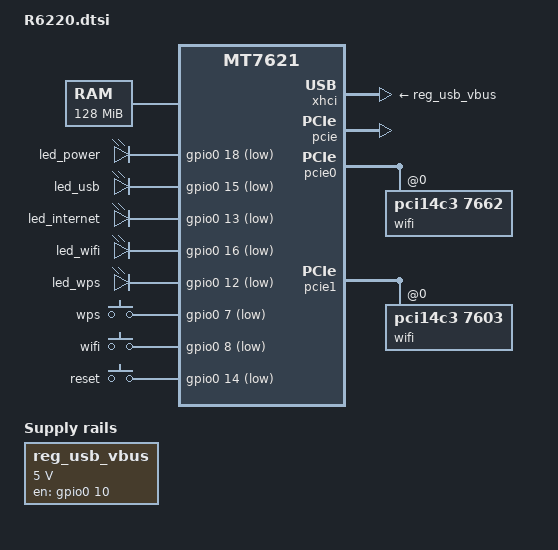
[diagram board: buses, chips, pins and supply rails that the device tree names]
// SPDX-License-Identifier: GPL-2.0
/dts-v1/;

#include "mt7621.dtsi"

#include <dt-bindings/gpio/gpio.h>
#include <dt-bindings/input/input.h>

/ {
	compatible = "mediatek,mt7621-soc";

	aliases {
		led-boot = &led_power;
		led-failsafe = &led_power;
		led-running = &led_power;
		led-upgrade = &led_power;
	};

	memory@0 {
		device_type = "memory";
		reg = <0x0 0x8000000>;
	};

	chosen {
		bootargs = "console=ttyS0,57600";
	};

	leds {
		compatible = "gpio-leds";

		led_power: power {
			gpios = <&gpio0 18 GPIO_ACTIVE_LOW>;
		};

		led_usb: usb {
			gpios = <&gpio0 15 GPIO_ACTIVE_LOW>;
			trigger-sources = <&xhci_ehci_port1>, <&ehci_port2>;
			linux,default-trigger = "usbport";
		};

		led_internet: internet {
			gpios = <&gpio0 13 GPIO_ACTIVE_LOW>;
		};

		led_wifi: wifi {
			gpios = <&gpio0 16 GPIO_ACTIVE_LOW>;
			linux,default-trigger = "phy0tpt";
		};

		led_wps: wps {
			gpios = <&gpio0 12 GPIO_ACTIVE_LOW>;
		};
	};

	keys {
		compatible = "gpio-keys-polled";
		poll-interval = <20>;

		wps {
			label = "wps";
			gpios = <&gpio0 7 GPIO_ACTIVE_LOW>;
			linux,code = <KEY_WPS_BUTTON>;
		};

		wifi {
			label = "wifi";
			gpios = <&gpio0 8 GPIO_ACTIVE_LOW>;
			linux,code = <KEY_RFKILL>;
		};

		reset {
			label = "reset";
			gpios = <&gpio0 14 GPIO_ACTIVE_LOW>;
			linux,code = <KEY_RESTART>;
		};
	};

	reg_usb_vbus: regulator {
		compatible = "regulator-fixed";
		regulator-name = "usb_vbus";
		regulator-min-microvolt = <5000000>;
		regulator-max-microvolt = <5000000>;
		gpio = <&gpio0 10 GPIO_ACTIVE_HIGH>;
		enable-active-high;
	};
};

&xhci {
	vbus-supply = <&reg_usb_vbus>;
};

&pcie {
	status = "okay";
};

&pcie0 {
	wifi@0,0 {
		compatible = "pci14c3,7662";
		reg = <0x0000 0 0 0 0>;
		mediatek,mtd-eeprom = <&factory 0x8000>;
		ieee80211-freq-limit = <5000000 6000000>;
	};
};

&pcie1 {
	wifi@0,0 {
		compatible = "pci14c3,7603";
		reg = <0x0000 0 0 0 0>;
		mediatek,mtd-eeprom = <&factory 0x0000>;
		ieee80211-freq-limit = <2400000 2500000>;
	};
};

&ethernet {
	mtd-mac-address = <&factory 0x00000004>;
};

&pinctrl {
	state_default: pinctrl0 {
		gpio {
			ralink,group = "uart3", "uart2", "jtag", "wdt";
			ralink,function = "gpio";
		};
	};
};
